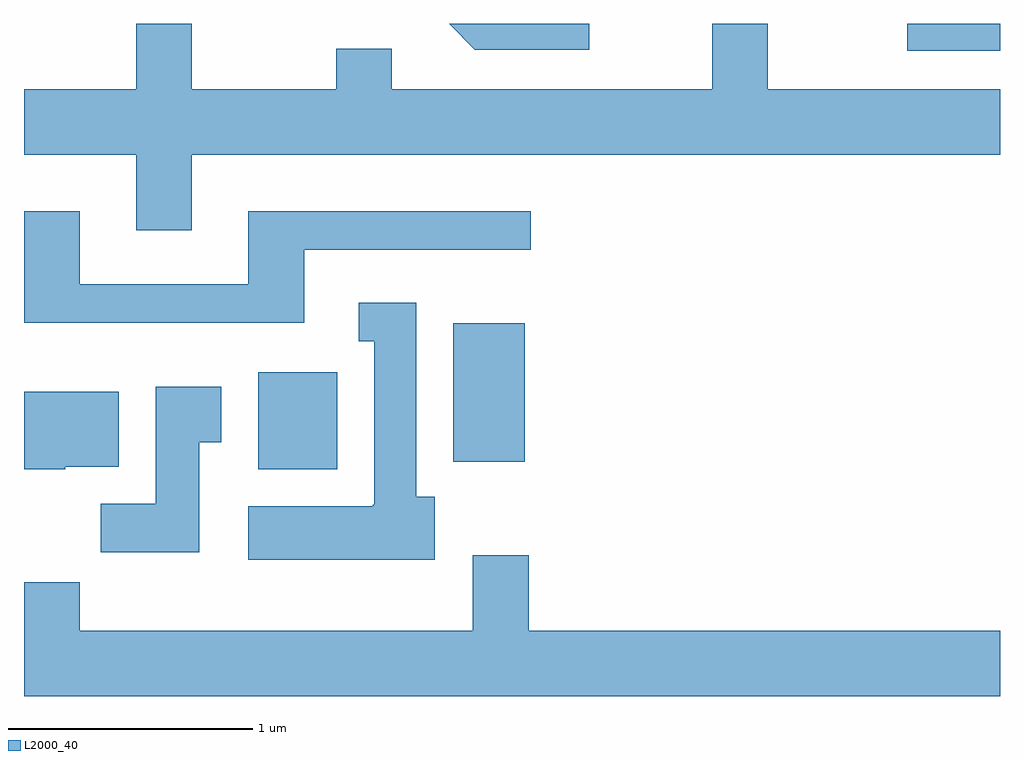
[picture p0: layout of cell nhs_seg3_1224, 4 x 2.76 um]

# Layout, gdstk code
import gdstk
lib = gdstk.Library(unit=1e-6, precision=1e-09)
def R(c, l, rs):  # rectangles x0, y0, x1, y1
    for r in rs: c.add(gdstk.rectangle(r[:2], r[2:], *l))
def P(c, l, *ps):  # polygons
    for p in ps: c.add(gdstk.Polygon(p, *l))
L2000_40 = (2000, 40)

nhs_seg3_1224 = lib.new_cell('nhs_seg3_1224')
R(nhs_seg3_1224, L2000_40, [(222.571,1118.066,222.894,1118.464), (223.371,1118.096,223.664,1118.664), (225.231,1119.781,225.611,1119.892)])
P(nhs_seg3_1224, L2000_40, [(222.299,1119.356),(225.611,1119.356),(225.611,1119.624),(224.659,1119.624),(224.659,1119.892),(224.431,1119.892),(224.431,1119.624),(223.119,1119.624),(223.119,1119.789),(222.891,1119.789),(222.891,1119.624),(222.299,1119.624),(222.299,1119.892),(222.071,1119.892),(222.071,1119.624),(221.611,1119.624),(221.611,1119.356),(222.071,1119.356),(222.071,1119.046),(222.299,1119.046)],
  [(223.928,1119.892),(223.353,1119.892),(223.459,1119.786),(223.928,1119.786)],
  [(222.759,1118.966),(223.688,1118.966),(223.688,1119.124),(222.531,1119.124),(222.531,1118.824),(221.839,1118.824),(221.839,1119.124),(221.611,1119.124),(221.611,1118.666),(222.759,1118.666)],
  [(223.294,1117.954),(223.219,1117.954),(223.219,1118.749),(222.983,1118.749),(222.983,1118.591),(223.046,1118.591),(223.046,1117.92),(223.04,1117.92),(223.04,1117.914),(222.531,1117.914),(222.531,1117.696),(223.294,1117.696)],
  [(222.329,1118.176),(222.419,1118.176),(222.419,1118.404),(222.151,1118.404),(222.151,1117.924),(221.926,1117.924),(221.926,1117.726),(222.329,1117.726)],
  [(221.78,1118.076),(221.999,1118.076),(221.999,1118.384),(221.611,1118.384),(221.611,1118.066),(221.78,1118.066)],
  [(225.611,1117.404),(223.679,1117.404),(223.679,1117.714),(223.451,1117.714),(223.451,1117.404),(221.839,1117.404),(221.839,1117.604),(221.611,1117.604),(221.611,1117.136),(225.611,1117.136)])

lib.write_gds('nhs_seg3_1224.gds')
